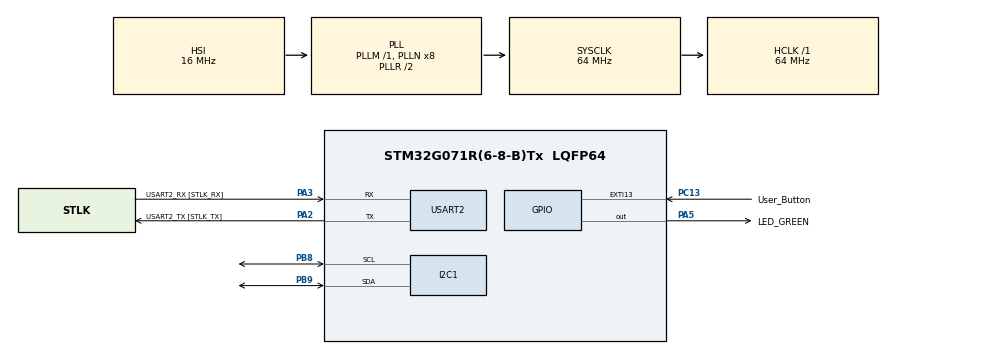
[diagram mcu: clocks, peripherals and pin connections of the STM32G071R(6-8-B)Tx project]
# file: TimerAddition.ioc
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I2C1.I2C_Fall_Time=0
I2C1.I2C_Rise_Time=0
I2C1.Timing=0x10707DBC
Mcu.Family=STM32G0
Mcu.Name=STM32G071R(6-8-B)Tx
Mcu.Package=LQFP64
NVIC.EXTI4_15_IRQn=true\:0\:0\:false\:false\:true\:true\:true\:true
NVIC.TIM2_IRQn=true\:0\:0\:false\:false\:true\:true\:true\:true
NVIC.TIM3_IRQn=true\:0\:0\:false\:false\:true\:true\:true\:true
PA13.GPIO_Label=TMS
PA13.Mode=Serial_Wire
PA13.Signal=SYS_SWDIO
PA14-BOOT0.GPIO_Label=TCK
PA14-BOOT0.Mode=Serial_Wire
PA14-BOOT0.Signal=SYS_SWCLK
PA2.GPIO_Label=USART2_TX [STLK_TX]
PA2.GPIO_PuPd=GPIO_PULLUP
PA2.Mode=Asynchronous
PA2.Signal=USART2_TX
PA3.GPIO_Label=USART2_RX [STLK_RX]
PA3.GPIO_PuPd=GPIO_PULLUP
PA3.Mode=Asynchronous
PA3.Signal=USART2_RX
PA5.GPIO_Label=LED_GREEN
PA5.GPIO_Speed=GPIO_SPEED_FREQ_HIGH
PA5.Signal=GPIO_Output
PB8.GPIO_Pu=GPIO_PULLUP
PB8.GPIO_Speed=GPIO_SPEED_FREQ_VERY_HIGH
PB8.Mode=I2C
PB8.Signal=I2C1_SCL
PB9.GPIO_Pu=GPIO_PULLUP
PB9.GPIO_Speed=GPIO_SPEED_FREQ_VERY_HIGH
PB9.Mode=I2C
PB9.Signal=I2C1_SDA
PC13.GPIO_Label=User_Button
PC13.GPIO_ModeDefaultEXTI=GPIO_MODE_IT_FALLING
PC13.Signal=GPXTI13
PC14-OSC32_IN\ (PC14).Mode=LSE-External-Oscillator
PC14-OSC32_IN\ (PC14).Signal=RCC_OSC32_IN
PC15-OSC32_OUT\ (PC15).Mode=LSE-External-Oscillator
PC15-OSC32_OUT\ (PC15).Signal=RCC_OSC32_OUT
PF0-OSC_IN\ (PF0).GPIO_Label=MCO
PF0-OSC_IN\ (PF0).Mode=HSE-External-Oscillator
PF0-OSC_IN\ (PF0).Signal=RCC_OSC_IN
PF1-OSC_OUT\ (PF1).Mode=HSE-External-Oscillator
PF1-OSC_OUT\ (PF1).Signal=RCC_OSC_OUT
ProjectManager.HeapSize=0x200
ProjectManager.StackSize=0x400
ProjectManager.TargetToolchain=STM32CubeIDE
RCC.ADCFreq_Value=64000000
RCC.AHBFreq_Value=64000000
RCC.CortexFreq_Value=64000000
RCC.EXTERNAL_CLOCK_VALUE=12288000
RCC.HCLKFreq_Value=64000000
RCC.HSE_VALUE=8000000
RCC.HSI_VALUE=16000000
RCC.RTCClockSelection=RCC_RTCCLKSOURCE_LSE
RCC.SYSCLKFreq_VALUE=64000000
RCC.SYSCLKSource=RCC_SYSCLKSOURCE_PLLCLK
RCC.VCOOutputFreq_Value=128000000
RTC.Date=8
RTC.Format=RTC_FORMAT_BIN
RTC.Hours=14
RTC.Month=RTC_MONTH_AUGUST
RTC.WeekDay=RTC_WEEKDAY_FRIDAY
RTC.Year=25
TIM2.Period=12799
TIM2.Prescaler=999
TIM3.Period=49999
TIM3.Prescaler=63
USART2.VirtualMode-Asynchronous=VM_ASYNC
VP_RTC_VS_RTC_Activate.Mode=RTC_Enabled
VP_RTC_VS_RTC_Calendar.Mode=RTC_Calendar
VP_TIM2_VS_ClockSourceINT.Mode=Internal
VP_TIM3_VS_ClockSourceINT.Mode=Internal
board=NUCLEO-G071RB

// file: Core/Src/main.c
/* USER CODE BEGIN Header */
/**
  ******************************************************************************
  * @file           : main.c
  * @brief          : Main program body
  ******************************************************************************
  * @attention
  *
  * Copyright (c) 2025 STMicroelectronics.
  * All rights reserved.
  *
  * This software is licensed under terms that can be found in the LICENSE file
  * in the root directory of this software component.
  * If no LICENSE file comes with this software, it is provided AS-IS.
  *
  ******************************************************************************
  */
/* USER CODE END Header */
#include "main.h"

/* USER CODE BEGIN Includes */
#include <stdio.h>
#include <math.h>
#include <string.h>

#ifndef M_PI
#define M_PI 3.14159265358979323846
#endif

/* USER CODE END Includes */

/* USER CODE BEGIN PTD */
#define MPU6050_ADDR 0x68

#define GREEN_LED_Pin         GPIO_PIN_5
#define GREEN_LED_GPIO_Port   GPIOA

#define FLASH_PAGE54_START 0x0801B000

#define PAGE_SIZE 2048

#define DYNAMIC_BUFFER_SIZE 100

typedef enum
{
	EN_STATE_IDLE,
	EN_STATE_PAST_100_SAMPLES,
	EN_STATE_NEXT_150_SAMPLES
} teSTATES;

tsCurrentFlashStruct sCurrentData;

char g_arr_chrRTCBuffer[15];

uint8_t g_untState=EN_STATE_IDLE;

uint8_t g_int_ReceiveIncomingDataFlag=0;
uint8_t g_int_SampleCounter=220;

uint8_t g_int_ButtonPressedCount=0;
uint8_t g_int_LogSessionBusyFlag = 0;

uint8_t g_untTim3Tick=0;

//Checks whether the button is pressed
__IO uint8_t g_untIOButtonPressed = 0;

int16_t g_intAccelXRaw;
int16_t g_intAccelYRaw;
int16_t g_intAccelZRaw;

int16_t g_intGyroXRaw;
int16_t g_intGyroYRaw;
int16_t g_intGyroZRaw;

volatile uint16_t g_untCircularBufferHead;
volatile uint16_t g_untCircularBufferTail;
volatile uint16_t g_untCircularBufferSizeFilled;

uint32_t After_1_5s_time_us;
uint32_t PAST_1s_time_us;
uint32_t IDLE_time_us;

uint32_t elapsed_tick_IDLE;
uint32_t elapsed_tick_past1;
uint32_t elapsed_tick_after2;

uint32_t g_untCurrentMemoryAddress;

uint32_t g_untCurrentFlashAddress= FLASH_PAGE54_START;

uint64_t g_arr_untFlashPageBuffer[PAGE_SIZE];

uint64_t g_arr_untDynamicBuffer[DYNAMIC_BUFFER_SIZE];

uint64_t g_untDataToWrite = 0;

float Gx;
float Gy;
float Gz;

float Ax ; // g
float Ay ;
float Az ;

float g_fltPitchAcceleration;
float g_fltRollAcceleration;

/* USER CODE END PTD */

I2C_HandleTypeDef hi2c1;

RTC_HandleTypeDef hrtc;

TIM_HandleTypeDef htim2;
TIM_HandleTypeDef htim3;

UART_HandleTypeDef huart2;

void SystemClock_Config(void);
static void MX_GPIO_Init(void);
static void MX_USART2_UART_Init(void);
static void MX_I2C1_Init(void);
static void MX_TIM2_Init(void);
static void MX_RTC_Init(void);
static void MX_TIM3_Init(void);

int main(void)
{

  /* MCU Configuration--------------------------------------------------------*/

  /* Reset of all peripherals, Initializes the Flash interface and the Systick. */
  HAL_Init();

  /* Configure the system clock */
  SystemClock_Config();

  /* Initialize all configured peripherals */
  MX_GPIO_Init();
  MX_USART2_UART_Init();
  MX_I2C1_Init();
  MX_TIM2_Init();
  MX_RTC_Init();
  MX_TIM3_Init();
  /* USER CODE BEGIN 2 */
  for(int addr = 0 ; addr<128 ; addr++){
	  HAL_StatusTypeDef ret = HAL_I2C_IsDeviceReady(&hi2c1, addr <<1 , 1, 1000);
	  if(ret == HAL_OK)
	        {
		  	  printf("MPU is ready at I2C address: 0x%02X\n", addr);
	        }
	        else
	        {
	      	  printf("MPU is not ready. Check it.\n");
	        }
  }
  HAL_TIM_Base_Start(&htim2);

  HAL_TIM_Base_Start_IT(&htim3);

  //Initalize MPU6050
  MPU6050_Init();

  HAL_FLASH_Unlock();
  uint32_t page_error = 0;

  	   FLASH_EraseInitTypeDef erase_init = {
  	     .TypeErase   = FLASH_TYPEERASE_PAGES,
  	 	.Banks       = 1,
  	 	.Page        = 54,
  	     .NbPages     = 10
  	   };

  	   if (HAL_FLASHEx_Erase(&erase_init, &page_error) != HAL_OK)
  	   {
  	       Error_Handler();
  	   }

  HAL_FLASH_Lock();

  /* USER CODE END 2 */

  /* Infinite loop */
  /* USER CODE BEGIN WHILE */
  while (1)
  {

	  //HAL_IWDG_Refresh(&hiwdg);

	  if(g_untTim3Tick)
	  	  {
	  		  // Prepare to write double word (8 bytes)
	  		  MPU6050_Read_Accel();
	  		  Construct_Flash_Struct(&sCurrentData);
	  		  g_untDataToWrite = 0;
	  		  // Copy your struct bytes into the 64-bits variable safely
	  		  memcpy(&g_untDataToWrite, &sCurrentData, sizeof(tsCurrentFlashStruct));
	  		  Dynamic_Buffer_Write(g_untDataToWrite);
	  	  }

	  if(g_untIOButtonPressed)
	  {
		  g_untIOButtonPressed=0;
		  if(!g_int_LogSessionBusyFlag)
		  {
			  g_int_SampleCounter=0;
			  g_untCurrentFlashAddress= FLASH_PAGE54_START + g_int_ButtonPressedCount * PAGE_SIZE;
			  if(g_int_ButtonPressedCount<10)
			  {
				  g_int_ButtonPressedCount++;
			  }
			  g_int_LogSessionBusyFlag=1;
			  g_untState=EN_STATE_PAST_100_SAMPLES;
		  }
	  }

	  switch(g_untState)
	  {
	  case EN_STATE_PAST_100_SAMPLES:
		  Flash_Write_Past_1s();
		  g_untState=EN_STATE_NEXT_150_SAMPLES;
		  break;

	  case EN_STATE_NEXT_150_SAMPLES:
		  if(g_int_ReceiveIncomingDataFlag)
		  {
			  Flash_Write_After_2Secs(g_untCurrentFlashAddress);
			  g_int_SampleCounter++;
		  }
		  break;

	  }

    /* USER CODE END WHILE */

  }
}

void SystemClock_Config(void)
{
  RCC_OscInitTypeDef RCC_OscInitStruct = {0};
  RCC_ClkInitTypeDef RCC_ClkInitStruct = {0};

  /** Configure the main internal regulator output voltage
  */
  HAL_PWREx_ControlVoltageScaling(PWR_REGULATOR_VOLTAGE_SCALE1);

  /** Configure LSE Drive Capability
  */
  HAL_PWR_EnableBkUpAccess();
  __HAL_RCC_LSEDRIVE_CONFIG(RCC_LSEDRIVE_LOW);

  /** Initializes the RCC Oscillators according to the specified parameters
  * in the RCC_OscInitTypeDef structure.
  */
  RCC_OscInitStruct.OscillatorType = RCC_OSCILLATORTYPE_HSI|RCC_OSCILLATORTYPE_LSE;
  RCC_OscInitStruct.LSEState = RCC_LSE_ON;
  RCC_OscInitStruct.HSIState = RCC_HSI_ON;
  RCC_OscInitStruct.HSIDiv = RCC_HSI_DIV1;
  RCC_OscInitStruct.HSICalibrationValue = RCC_HSICALIBRATION_DEFAULT;
  RCC_OscInitStruct.PLL.PLLState = RCC_PLL_ON;
  RCC_OscInitStruct.PLL.PLLSource = RCC_PLLSOURCE_HSI;
  RCC_OscInitStruct.PLL.PLLM = RCC_PLLM_DIV1;
  RCC_OscInitStruct.PLL.PLLN = 8;
  RCC_OscInitStruct.PLL.PLLP = RCC_PLLP_DIV2;
  RCC_OscInitStruct.PLL.PLLQ = RCC_PLLQ_DIV2;
  RCC_OscInitStruct.PLL.PLLR = RCC_PLLR_DIV2;
  if (HAL_RCC_OscConfig(&RCC_OscInitStruct) != HAL_OK)
  {
    Error_Handler();
  }

  /** Initializes the CPU, AHB and APB buses clocks
  */
  RCC_ClkInitStruct.ClockType = RCC_CLOCKTYPE_HCLK|RCC_CLOCKTYPE_SYSCLK
                              |RCC_CLOCKTYPE_PCLK1;
  RCC_ClkInitStruct.SYSCLKSource = RCC_SYSCLKSOURCE_PLLCLK;
  RCC_ClkInitStruct.AHBCLKDivider = RCC_SYSCLK_DIV1;
  RCC_ClkInitStruct.APB1CLKDivider = RCC_HCLK_DIV1;

  if (HAL_RCC_ClockConfig(&RCC_ClkInitStruct, FLASH_LATENCY_2) != HAL_OK)
  {
    Error_Handler();
  }
}

static void MX_I2C1_Init(void)
{

  hi2c1.Instance = I2C1;
  hi2c1.Init.Timing = 0x10707DBC;
  hi2c1.Init.OwnAddress1 = 0;
  hi2c1.Init.AddressingMode = I2C_ADDRESSINGMODE_7BIT;
  hi2c1.Init.DualAddressMode = I2C_DUALADDRESS_DISABLE;
  hi2c1.Init.OwnAddress2 = 0;
  hi2c1.Init.OwnAddress2Masks = I2C_OA2_NOMASK;
  hi2c1.Init.GeneralCallMode = I2C_GENERALCALL_DISABLE;
  hi2c1.Init.NoStretchMode = I2C_NOSTRETCH_DISABLE;
  if (HAL_I2C_Init(&hi2c1) != HAL_OK)
  {
    Error_Handler();
  }

  /** Configure Analogue filter
  */
  if (HAL_I2CEx_ConfigAnalogFilter(&hi2c1, I2C_ANALOGFILTER_ENABLE) != HAL_OK)
  {
    Error_Handler();
  }

  /** Configure Digital filter
  */
  if (HAL_I2CEx_ConfigDigitalFilter(&hi2c1, 0) != HAL_OK)
  {
    Error_Handler();
  }

}

static void MX_RTC_Init(void)
{

  RTC_TimeTypeDef sTime = {0};
  RTC_DateTypeDef sDate = {0};

  /** Initialize RTC Only
  */
  hrtc.Instance = RTC;
  hrtc.Init.HourFormat = RTC_HOURFORMAT_24;
  hrtc.Init.AsynchPrediv = 127;
  hrtc.Init.SynchPrediv = 255;
  hrtc.Init.OutPut = RTC_OUTPUT_DISABLE;
  hrtc.Init.OutPutRemap = RTC_OUTPUT_REMAP_NONE;
  hrtc.Init.OutPutPolarity = RTC_OUTPUT_POLARITY_HIGH;
  hrtc.Init.OutPutType = RTC_OUTPUT_TYPE_OPENDRAIN;
  hrtc.Init.OutPutPullUp = RTC_OUTPUT_PULLUP_NONE;
  if (HAL_RTC_Init(&hrtc) != HAL_OK)
  {
    Error_Handler();
  }

  /** Initialize RTC and set the Time and Date
  */
  sTime.Hours = 14;
  sTime.Minutes = 0;
  sTime.Seconds = 0;
  sTime.SubSeconds = 0;
  sTime.DayLightSaving = RTC_DAYLIGHTSAVING_NONE;
  sTime.StoreOperation = RTC_STOREOPERATION_RESET;
  if (HAL_RTC_SetTime(&hrtc, &sTime, RTC_FORMAT_BIN) != HAL_OK)
  {
    Error_Handler();
  }
  sDate.WeekDay = RTC_WEEKDAY_FRIDAY;
  sDate.Month = RTC_MONTH_AUGUST;
  sDate.Date = 8;
  sDate.Year = 25;

  if (HAL_RTC_SetDate(&hrtc, &sDate, RTC_FORMAT_BIN) != HAL_OK)
  {
    Error_Handler();
  }

}

static void MX_TIM2_Init(void)
{

  TIM_ClockConfigTypeDef sClockSourceConfig = {0};
  TIM_MasterConfigTypeDef sMasterConfig = {0};

  htim2.Instance = TIM2;
  htim2.Init.Prescaler = 999;
  htim2.Init.CounterMode = TIM_COUNTERMODE_UP;
  htim2.Init.Period = 12799;
  htim2.Init.ClockDivision = TIM_CLOCKDIVISION_DIV1;
  htim2.Init.AutoReloadPreload = TIM_AUTORELOAD_PRELOAD_DISABLE;
  if (HAL_TIM_Base_Init(&htim2) != HAL_OK)
  {
    Error_Handler();
  }
  sClockSourceConfig.ClockSource = TIM_CLOCKSOURCE_INTERNAL;
  if (HAL_TIM_ConfigClockSource(&htim2, &sClockSourceConfig) != HAL_OK)
  {
    Error_Handler();
  }
  sMasterConfig.MasterOutputTrigger = TIM_TRGO_RESET;
  sMasterConfig.MasterSlaveMode = TIM_MASTERSLAVEMODE_DISABLE;
  if (HAL_TIMEx_MasterConfigSynchronization(&htim2, &sMasterConfig) != HAL_OK)
  {
    Error_Handler();
  }
  /* USER CODE BEGIN TIM2_Init 2 */
	 HAL_NVIC_SetPriority(TIM2_IRQn, 0, 0);
 HAL_NVIC_EnableIRQ(TIM2_IRQn);
  /* USER CODE END TIM2_Init 2 */

}

static void MX_TIM3_Init(void)
{

  TIM_ClockConfigTypeDef sClockSourceConfig = {0};
  TIM_MasterConfigTypeDef sMasterConfig = {0};

  htim3.Instance = TIM3;
  htim3.Init.Prescaler = 63;
  htim3.Init.CounterMode = TIM_COUNTERMODE_UP;
  htim3.Init.Period = 49999;
  htim3.Init.ClockDivision = TIM_CLOCKDIVISION_DIV1;
  htim3.Init.AutoReloadPreload = TIM_AUTORELOAD_PRELOAD_DISABLE;
  if (HAL_TIM_Base_Init(&htim3) != HAL_OK)
  {
    Error_Handler();
  }
  sClockSourceConfig.ClockSource = TIM_CLOCKSOURCE_INTERNAL;
  if (HAL_TIM_ConfigClockSource(&htim3, &sClockSourceConfig) != HAL_OK)
  {
    Error_Handler();
  }
  sMasterConfig.MasterOutputTrigger = TIM_TRGO_RESET;
  sMasterConfig.MasterSlaveMode = TIM_MASTERSLAVEMODE_DISABLE;
  if (HAL_TIMEx_MasterConfigSynchronization(&htim3, &sMasterConfig) != HAL_OK)
  {
    Error_Handler();
  }
  /* USER CODE BEGIN TIM3_Init 2 */
  	 HAL_NVIC_SetPriority(TIM3_IRQn, 0, 0);
    HAL_NVIC_EnableIRQ(TIM3_IRQn);
  /* USER CODE END TIM3_Init 2 */

}

static void MX_USART2_UART_Init(void)
{

  huart2.Instance = USART2;
  huart2.Init.BaudRate = 115200;
  huart2.Init.WordLength = UART_WORDLENGTH_8B;
  huart2.Init.StopBits = UART_STOPBITS_1;
  huart2.Init.Parity = UART_PARITY_NONE;
  huart2.Init.Mode = UART_MODE_TX_RX;
  huart2.Init.HwFlowCtl = UART_HWCONTROL_NONE;
  huart2.Init.OverSampling = UART_OVERSAMPLING_16;
  huart2.Init.OneBitSampling = UART_ONE_BIT_SAMPLE_DISABLE;
  huart2.Init.ClockPrescaler = UART_PRESCALER_DIV1;
  huart2.AdvancedInit.AdvFeatureInit = UART_ADVFEATURE_NO_INIT;
  if (HAL_UART_Init(&huart2) != HAL_OK)
  {
    Error_Handler();
  }
  if (HAL_UARTEx_SetTxFifoThreshold(&huart2, UART_TXFIFO_THRESHOLD_1_8) != HAL_OK)
  {
    Error_Handler();
  }
  if (HAL_UARTEx_SetRxFifoThreshold(&huart2, UART_RXFIFO_THRESHOLD_1_8) != HAL_OK)
  {
    Error_Handler();
  }
  if (HAL_UARTEx_DisableFifoMode(&huart2) != HAL_OK)
  {
    Error_Handler();
  }

}

static void MX_GPIO_Init(void)
{
  GPIO_InitTypeDef GPIO_InitStruct = {0};

  /* GPIO Ports Clock Enable */
  __HAL_RCC_GPIOC_CLK_ENABLE();
  __HAL_RCC_GPIOF_CLK_ENABLE();
  __HAL_RCC_GPIOA_CLK_ENABLE();
  __HAL_RCC_GPIOB_CLK_ENABLE();

  /*Configure GPIO pin Output Level */
  HAL_GPIO_WritePin(LED_GREEN_GPIO_Port, LED_GREEN_Pin, GPIO_PIN_RESET);

  /*Configure GPIO pin : User_Button_Pin */
  GPIO_InitStruct.Pin = User_Button_Pin;
  GPIO_InitStruct.Mode = GPIO_MODE_IT_FALLING;
  GPIO_InitStruct.Pull = GPIO_NOPULL;
  HAL_GPIO_Init(User_Button_GPIO_Port, &GPIO_InitStruct);

  /*Configure GPIO pin : LED_GREEN_Pin */
  GPIO_InitStruct.Pin = LED_GREEN_Pin;
  GPIO_InitStruct.Mode = GPIO_MODE_OUTPUT_PP;
  GPIO_InitStruct.Pull = GPIO_NOPULL;
  GPIO_InitStruct.Speed = GPIO_SPEED_FREQ_HIGH;
  HAL_GPIO_Init(LED_GREEN_GPIO_Port, &GPIO_InitStruct);

  /* EXTI interrupt init*/
  HAL_NVIC_SetPriority(EXTI4_15_IRQn, 0, 0);
  HAL_NVIC_EnableIRQ(EXTI4_15_IRQn);

}

/* USER CODE BEGIN 4 */

/**
 * MPU6050_Init
 *
 * This function is used to initalize MPU6050 IMU sensor by writing required registers
 *
 * Buffer : data
 *
 * @Precondition: @Precondition: I2C peripheral must be initialized and the MPU6050 configured.
 *
 * @Return: N/A
 */
void MPU6050_Init(void)
{
	uint8_t data =0x00;

	//Wake sensor up -> register 0x6B
	HAL_I2C_Mem_Write(&hi2c1, MPU6050_ADDR <<1, 0x6B, 1, &data, 1, 1000);

	//SET DATA RATE of 1Khz -> SMPLRT_DIV register
	data = 0x07;
	HAL_I2C_Mem_Write(&hi2c1, MPU6050_ADDR <<1, 0x19, 1, &data, 1, 1000);

	//GYRO_CONFIG <strong>±</strong> 250 ̐/s
	data = 0x00;
	HAL_I2C_Mem_Write(&hi2c1, MPU6050_ADDR <<1, 0x1B, 1, &data, 1, 1000);

	//ACCEL_CONFIG  <strong>±</strong> 2g
	data = 0x00;
	HAL_I2C_Mem_Write(&hi2c1, MPU6050_ADDR <<1, 0x1C, 1, &data, 1, 1000);
}

/**
 * MPU6050_Read_Accel
 *
 * This function reads raw acceleration data and computes to generate roll and pitch
 *
 *
 * Buffer : g_fltRollAcceleration , g_fltPitchAcceleration
 *
 * @Precondition: I2C peripheral must be initialized and the MPU6050 configured.
 *
 * @Return: N/A
 */
void MPU6050_Read_Accel(void)
{  //Execution Time = 1.2ms
	uint8_t Accel_Data[6];

	// Read 6 BYTES of data starting from ACCEL_XOUT_H (0x3B) register
	HAL_I2C_Mem_Read (&hi2c1, MPU6050_ADDR <<1 , 0x3B, 1, Accel_Data, 6, 1000);
	g_intAccelXRaw = (int16_t)(Accel_Data[0] << 8 | Accel_Data[1]);
	g_intAccelYRaw = (int16_t)(Accel_Data[2] << 8 | Accel_Data[3]);
	g_intAccelZRaw = (int16_t)(Accel_Data[4] << 8 | Accel_Data[5]);

	// Compute pitch and roll
	g_fltRollAcceleration  = atan2((float)g_intAccelYRaw, (float)g_intAccelZRaw) * 180.0 / M_PI;
	g_fltPitchAcceleration = atan2(-(float)g_intAccelXRaw, sqrt(g_intAccelYRaw * g_intAccelYRaw + g_intAccelZRaw * g_intAccelZRaw)) * 180.0 / M_PI;
}

/**
 * MPU6050_Read_Gyro
 *
 * This function reads raw gyroscope data from the MPU6050 and converts it to angular velocity.
 *
 * This function communicates with the MPU6050 sensor via I2C to read
 * 6 bytes of raw gyroscope data (X, Y, Z axes) strating from GYRO_XOUT_h register,
 * combines them into signed 16-bit integers, and converts them into angular velocities
 * in degrees per second using the sensitivity scale factor for ±250°/s range (131 LSB/°/s)
 *
 * Buffer : Gx, Gy, Gz
 *
 * @Precondition: N/A
 *
 * @Return: N/A
 */
void MPU6050_Read_Gyro (void)
{
	uint8_t Gyro_Data[6];
	// Read 6 BYTES of data starting from GYRO_XOUT_H register
	 HAL_I2C_Mem_Read (&hi2c1, MPU6050_ADDR <<1, 0x43, 1, Gyro_Data, 6, 1000);

	g_intGyroXRaw = (int16_t)(Gyro_Data[0] << 8 | Gyro_Data[1]);
	g_intGyroYRaw = (int16_t)(Gyro_Data[2] << 8 | Gyro_Data[3]);
	g_intGyroZRaw = (int16_t)(Gyro_Data[4] << 8 | Gyro_Data[5]);

	Gx = (float)g_intGyroXRaw/131.0;
	Gy = (float)g_intGyroYRaw/131.0;
	Gz = (float)g_intGyroZRaw/131.0;
}

/**
 * UserButton_Callback
 *
 * This callback is triggered when the user button is pressed.
 *
 * Updates the g_untIOButtonPressed flag if no logging session is active
 * and toggles the GREEN_LED GPIO pin state.
 *
 * Buffer : N/A
 *
 * @Precondition: External interrupt for the user button must be configured.
 *
 * @Return: N/A
 */
void UserButton_Callback(void){

	if(!g_int_LogSessionBusyFlag){
		g_untIOButtonPressed=1;
	}
	//Toggle the GREEN_LED
	HAL_GPIO_TogglePin(GREEN_LED_GPIO_Port, GREEN_LED_Pin);
}

/**
 * Construct_Flash_Struct
 *
 * This function populates a tsCurrentFlashStruct structure with
 * the current pitch, roll, and RTC time values, ready to be stored in flash.
 *
 * Buffer : intProcessedPitch, intProcessedRoll, intRTCHours, intRTCMinutes, intRTCSeconds, intPadding
 *
 * @Parameter[in]: data : Points to the tsCurrentFlashStruct instance to be filled.
 *
 * @Precondition: RTC peripheral must be initialized and running;
 *                g_fltPitchAcceleration and g_fltRollAcceleration global variables must hold valid values.
 *
 * @Return: N/A
 */
void Construct_Flash_Struct(tsCurrentFlashStruct *data)
{
	  RTC_TimeTypeDef sTime;
	  RTC_DateTypeDef sDate;

	HAL_RTC_GetTime(&hrtc, &sTime, RTC_FORMAT_BIN);
	HAL_RTC_GetDate(&hrtc, &sDate, RTC_FORMAT_BIN); // Unlocks the shadow registers

	data->intProcessedPitch = (int16_t)(g_fltPitchAcceleration * 100);
	data->intProcessedRoll  = (int16_t)(g_fltRollAcceleration  * 100);
	data->intRTCHours   = sTime.Hours;
	data->intRTCMinutes = sTime.Minutes;
	data->intRTCSeconds = sTime.Seconds;
	data->intPadding = 0;

	//sprintf(g_arr_chrRTCBuffer,"Time:%02d:%02d:%02d\n", data->intRTCHours, data->intRTCMinutes, data->intRTCSeconds);
	//HAL_UART_Transmit(&huart2,(uint8_t*)g_arr_chrRTCBuffer, strlen(g_arr_chrRTCBuffer), HAL_MAX_DELAY);
}

/**
 * Flash_Write_Past_1s
 *
 * This function writes the collected data from the dynamic buffer to
 * the flash memory page corresponding to the last 1-second log interval.
 * It reads the existing flash page into a RAM buffer, erases the page,
 * appends new data from the dynamic buffer, and writes the entire page back.
 *
 * Buffer : g_arr_untFlashPageBuffer, g_untCurrentFlashAddress, g_untCurrentMemoryAddress
 *
 * @Precondition: FLASH_PAGE54_START, PAGE_SIZE, g_int_ButtonPressedCount, and
 *                Dynamic_Buffer_Read() must be properly defined and initialized.
 *
 * @Return: N/A
 */
 void Flash_Write_Past_1s(void)
 {
	 uint32_t Page_Start_Addr= (uint32_t) FLASH_PAGE54_START + ((g_int_ButtonPressedCount-1) * PAGE_SIZE);

	 memcpy(g_arr_untFlashPageBuffer, (uint32_t *)Page_Start_Addr, PAGE_SIZE);

	 HAL_FLASH_Unlock();

	 FLASH_EraseInitTypeDef erase_init =
	 {
	   .TypeErase   = FLASH_TYPEERASE_PAGES,
	   .Banks       = 1,
	   .Page        = 54 + (g_int_ButtonPressedCount-1), 	// Last page for 128KB
	   .NbPages     = 1
	 };

	   uint32_t page_error = 0;
	   if (HAL_FLASHEx_Erase(&erase_init, &page_error) != HAL_OK)
	   {
		   Error_Handler();
	   }

	   uint64_t data;
	   uint16_t indx=0;
	   while(Dynamic_Buffer_Read(&data))
	   {
		   g_arr_untFlashPageBuffer[indx++] = data;
	   }

   //Write the whole page
	  g_untCurrentMemoryAddress = Page_Start_Addr;
	  for (uint32_t i = 0 ; (i*8) < PAGE_SIZE; i++)
	  {
		   uint64_t data64 = g_arr_untFlashPageBuffer[i];
		   if (HAL_FLASH_Program(FLASH_TYPEPROGRAM_DOUBLEWORD, g_untCurrentMemoryAddress + (i*8), data64) != HAL_OK)
		   {
			   // handle error
			   HAL_FLASH_Lock();
			   Error_Handler();
			   return;
		   }
	   }
	  HAL_FLASH_Lock();

	 g_untCurrentFlashAddress = Page_Start_Addr + (indx*8);
 }

 /**
  * Flash_Write_After_2Secs
  *
  * This function updates the flash memory page corresponding to the last log session
  * by writing a single new data entry (g_untDataToWrite) into the correct position in the
  * page buffer. It reads the existing page from flash, erases it, updates the buffer,
  * and writes the full page back to flash memory.
  *
  * Buffer : g_arr_untFlashPageBuffer, g_untCurrentFlashAddress, g_untCurrentMemoryAddress, g_untDataToWrite
  *
  * @param current_pointer Current flash memory pointer location for the next data write.
  *
  * @Precondition: FLASH_PAGE54_START, PAGE_SIZE, g_int_ButtonPressedCount, g_untDataToWrite,
  *                and g_untCurrentFlashAddress must be valid and initialized.
  *
  * @Return: N/A
  */
 void Flash_Write_After_2Secs(uint32_t current_pointer)
 {
	 uint32_t Page_Start_Addr= (uint32_t) FLASH_PAGE54_START + ((g_int_ButtonPressedCount-1) * PAGE_SIZE);

	 memcpy(g_arr_untFlashPageBuffer, (uint32_t *)Page_Start_Addr, PAGE_SIZE);

	 HAL_FLASH_Unlock();

	   FLASH_EraseInitTypeDef erase_init =
	   {
	    .TypeErase   = FLASH_TYPEERASE_PAGES,
	 	.Banks       = 1,
	 	.Page        = 54 + (g_int_ButtonPressedCount-1), 	// Last page for 128KB
	    .NbPages     = 1
	   };

	   uint32_t page_error = 0;
	   if (HAL_FLASHEx_Erase(&erase_init, &page_error) != HAL_OK)
	   {
	       Error_Handler();
	   }

	   //Get the index for the next data to be updated into the g_arr_untFlashPageBuffer
	   uint16_t index = (uint16_t)((g_untCurrentFlashAddress - Page_Start_Addr) / 8);

	   g_arr_untFlashPageBuffer[index] = g_untDataToWrite;

	   //Write the whole page
	   g_untCurrentMemoryAddress = Page_Start_Addr;
	   for (uint32_t i = 0 ; (i*8) < PAGE_SIZE; i++)
	   {
		   uint64_t data64 = g_arr_untFlashPageBuffer[i];
		   if (HAL_FLASH_Program(FLASH_TYPEPROGRAM_DOUBLEWORD, g_untCurrentMemoryAddress + (i*8), data64) != HAL_OK) {
			   // handle error
			   HAL_FLASH_Lock();
			   Error_Handler();
			   return;
		   }
	   }
	  HAL_FLASH_Lock();

	  //Increment the pointer
	  if(current_pointer >= Page_Start_Addr + PAGE_SIZE )
	  {
		  g_untCurrentFlashAddress = Page_Start_Addr;
	  }
	  else
	  {
		  g_untCurrentFlashAddress+=8;
	  }
 }
 /**
  * HAL_TIM_PeriodElapsedCallback
  *
  * This callback is triggered when the specified timer reaches its period value.
  *
  * When TIM3 generates an update event, the function sets the g_untTim3Tick to indicate
  * that a timing interval has elapsed. If the g_int_SampleCounter is less than 150, the
  * g_int_ReceiveIncomingDataFlag is set to enable data reception. Otherwise, data reception is stopped,
  * the logging session is ended, and the system state is set to EN_STATE_IDLE.
  *
  * Buffer : g_untTim3Tick, g_int_ReceiveIncomingDataFlag, g_int_LogSessionBusyFlag, g_untState
  *
  * @param htim Pointer to the TIM handle structure that triggered the callback.
  *
  * @Precondition: TIM3 must be initialized and started with interrupts enabled.
  *
  * @Return: N/A
  */
void HAL_TIM_PeriodElapsedCallback(TIM_HandleTypeDef *htim)
{

	if (htim->Instance == TIM3)
 	 {
 		g_untTim3Tick=1;
 		if(g_int_SampleCounter<150)
 		{
 			g_int_ReceiveIncomingDataFlag = 1;
 		}
 		else
 		{
 			g_int_ReceiveIncomingDataFlag=0;
 			g_int_LogSessionBusyFlag = 0;
 			g_untState=EN_STATE_IDLE;
 		}

 	 }
 }

/**
 * Dynamic_Buffer_Write
 *
 * Writes a 64-bit value into the dynamic ring buffer.
 *
 * The function inserts the new value at the current head position
 * and advances the g_untCircularBufferHead pointer in a circular manner. If the buffer
 * is not yet full, the g_untCircularBufferSizeFilled is incremented. If the buffer is full,
 * the oldest value (at the tail) is overwritten and the g_untCircularBufferTail pointer
 * is advanced.
 *
 * Buffer : g_arr_untDynamicBuffer, g_untCircularBufferHead, g_untCircularBufferTail, g_untCircularBufferSizeFilled
 *
 * @Parameter[in]: value : The 64-bit value to be written into the g_arr_untDynamicBuffer.
 *
 * @Precondition: g_arr_untDynamicBuffer, g_untCircularBufferHead, g_untCircularBufferTail, and g_untCircularBufferSizeFilled must be
 *                properly initialized. DYNAMIC_BUFFER_SIZE must
 *                define the buffer capacity.
 *
 * @Return: N/A
 */
void Dynamic_Buffer_Write(uint64_t value)
{
    g_arr_untDynamicBuffer[g_untCircularBufferHead] = value;
    g_untCircularBufferHead = (g_untCircularBufferHead + 1) % DYNAMIC_BUFFER_SIZE;

    if (g_untCircularBufferSizeFilled < DYNAMIC_BUFFER_SIZE)
    {
        g_untCircularBufferSizeFilled++;
    }
    else
    {
        // buffer is full, overwrite oldest
        g_untCircularBufferTail = (g_untCircularBufferTail + 1) % DYNAMIC_BUFFER_SIZE;
    }
}

/**
 * Dynamic_Buffer_Read
 *
 * Reads the oldest value from the dynamic circular buffer.
 *
 * The function retrieves the value at the tail position, advances
 * the g_untCircularBufferTail pointer, and decrements the g_untCircularBufferSizeFilled. If the buffer is empty,
 * the function returns 0 and does not modify the output value.
 *
 * Buffer : g_arr_untDynamicBuffer, g_untCircularBufferHead, g_untCircularBufferTail, g_untCircularBufferSizeFilled
 *
 * @param value Pointer to a uint64_t variable where the read value will be stored.
 *
 * @Precondition: g_arr_untDynamicBuffer, g_untCircularBufferHead, g_untCircularBufferTail, and g_untCircularBufferSizeFilled must be properly initialized.
 *
 * @Return: 1 if a value was successfully read; 0 if the buffer was empty.
 */

uint64_t Dynamic_Buffer_Read(uint64_t *value)
{
    if (g_untCircularBufferSizeFilled == 0) return 0; // empty

    *value = g_arr_untDynamicBuffer[g_untCircularBufferTail];
    g_untCircularBufferTail = (g_untCircularBufferTail + 1) % DYNAMIC_BUFFER_SIZE;
    g_untCircularBufferSizeFilled--;
    return 1;
}
/**
 * SysTick_InitForTiming
 *
 * Initializes the SysTick timer for measuring time intervals.
 *
 * This function disables SysTick, sets the maximum 24-bit reload value,
 * clears the current counter, and enables the timer using the CPU clock.
 * It can be used to measure elapsed time by reading the current SysTick value.
 *
 * Buffer : N/A
 *
 * @Precondition: None. Can be called at any point after system clock initialization.
 *
 * @Return: N/A
 */
void SysTick_InitForTiming(void)
{
    SysTick->CTRL = 0;                // Disable SysTick
    SysTick->LOAD = 0xFFFFFF;         // Max reload value (24-bit)
    SysTick->VAL = 0;                 // Clear current value
    SysTick->CTRL = SysTick_CTRL_CLKSOURCE_Msk | SysTick_CTRL_ENABLE_Msk; // CPU clock, enable
}

/**
 * GetElapsedTime_us
 *
 * Calculates the elapsed time in microseconds since a given SysTick start value.
 *
 * This function reads the current SysTick counter, computes the difference
 * from the provided start_ticks, and converts it into microseconds based
 * on the CPU clock frequency.
 *
 * Buffer : N/A
 *
 * @Parameter[in]: start_ticks: The SysTick counter value at the start of the timing interval.
 *
 * @Precondition: SysTick must be initialized and running (e.g., via SysTick_InitForTiming()).
 *
 * @Return: Elapsed time in microseconds since start_ticks.
 */
uint32_t GetElapsedTime_us(uint32_t start_ticks)
{
    uint32_t end_ticks = SysTick->VAL;
    uint32_t elapsed_ticks = (start_ticks >= end_ticks)
                           ? (start_ticks - end_ticks)
                           : (start_ticks + (0xFFFFFF - end_ticks));

    return elapsed_ticks / (HAL_RCC_GetHCLKFreq() / 1000000);
}

/* USER CODE END 4 */

void Error_Handler(void)
{
  __disable_irq();
  while (1)
  {
  }
}
